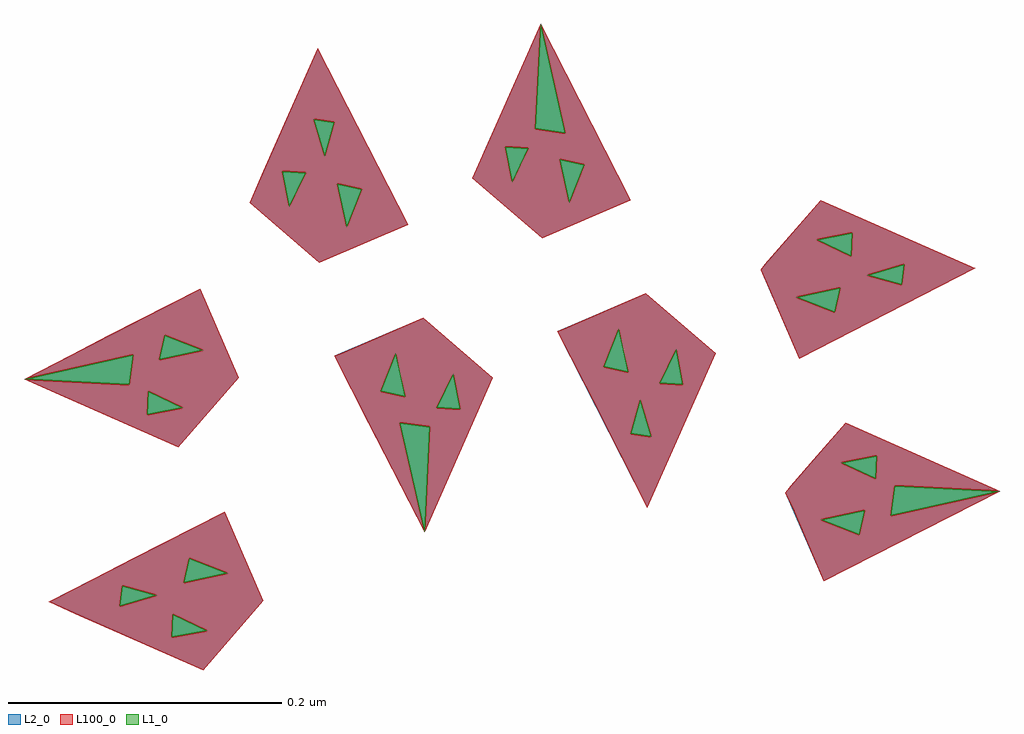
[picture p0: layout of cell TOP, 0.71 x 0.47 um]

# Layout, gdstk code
import gdstk
lib = gdstk.Library(unit=1e-6, precision=1e-09)
def P(c, l, *ps):  # polygons
    for p in ps: c.add(gdstk.Polygon(p, *l))
L1_0 = (1, 0)
L2_0 = (2, 0)
L100_0 = (100, 0)

top = lib.new_cell('TOP')
P(top, L1_0, [(-0.81,1.3),(-0.817,1.332),(-0.799,1.328)],
  [(-0.647,1.318),(-0.654,1.35),(-0.636,1.346)],
  [(-0.929,1.04),(-0.925,1.058),(-0.897,1.047)],
  [(-0.947,1.203),(-0.943,1.221),(-0.915,1.21)],
  [(-0.767,1.176),(-0.785,1.18),(-0.774,1.208)],
  [(-0.604,1.194),(-0.622,1.198),(-0.611,1.226)],
  [(-0.852,1.315),(-0.857,1.341),(-0.84,1.34)],
  [(-0.689,1.333),(-0.694,1.359),(-0.677,1.358)],
  [(-0.423,1.116),(-0.448,1.128),(-0.422,1.133)],
  [(-0.441,1.279),(-0.466,1.291),(-0.44,1.296)],
  [(-0.753,1.077),(-0.771,1.157),(-0.749,1.154)],
  [(-0.969,1.185),(-1.046,1.189),(-0.966,1.207)],
  [(-0.435,1.075),(-0.463,1.086),(-0.431,1.093)],
  [(-0.453,1.238),(-0.481,1.249),(-0.449,1.256)],
  [(-0.412,1.089),(-0.409,1.111),(-0.332,1.107)],
  [(-0.826,1.352),(-0.834,1.379),(-0.819,1.377)],
  [(-0.587,1.147),(-0.602,1.149),(-0.595,1.174)],
  [(-0.727,1.167),(-0.744,1.168),(-0.732,1.193)],
  [(-0.564,1.185),(-0.581,1.186),(-0.569,1.211)],
  [(-0.65,1.369),(-0.672,1.372),(-0.668,1.449)],
  [(-0.938,1),(-0.937,1.017),(-0.912,1.005)],
  [(-0.956,1.163),(-0.955,1.18),(-0.93,1.168)],
  [(-0.404,1.258),(-0.429,1.265),(-0.402,1.273)],
  [(-0.976,1.023),(-0.974,1.038),(-0.949,1.031)])
P(top, L2_0, [(-0.83,1.274),(-0.881,1.318),(-0.831,1.431),(-0.765,1.302)],
  [(-0.667,1.292),(-0.718,1.336),(-0.668,1.449),(-0.602,1.32)],
  [(-0.753,1.077),(-0.819,1.206),(-0.754,1.234),(-0.703,1.19)],
  [(-0.59,1.095),(-0.656,1.224),(-0.591,1.252),(-0.54,1.208)],
  [(-0.461,1.041),(-0.489,1.106),(-0.445,1.157),(-0.332,1.107)],
  [(-0.479,1.204),(-0.507,1.269),(-0.463,1.32),(-0.35,1.27)],
  [(-0.915,0.976),(-1.028,1.026),(-0.899,1.092),(-0.871,1.027)],
  [(-0.933,1.139),(-1.046,1.189),(-0.917,1.255),(-0.889,1.19)])
P(top, L100_0, [(-0.479,1.204),(-0.501,1.256),(-0.449,1.256),(-0.481,1.249),(-0.453,1.238),(-0.449,1.256),(-0.501,1.256),(-0.507,1.269),(-0.504,1.273),(-0.402,1.273),(-0.429,1.265),(-0.404,1.258),(-0.402,1.273),(-0.504,1.273),(-0.484,1.296),(-0.44,1.296),(-0.466,1.291),(-0.441,1.279),(-0.44,1.296),(-0.484,1.296),(-0.463,1.32),(-0.35,1.27)],
  [(-0.915,0.976),(-1.008,1.017),(-0.937,1.017),(-0.938,1),(-0.912,1.005),(-0.937,1.017),(-1.008,1.017),(-1.028,1.026),(-1.005,1.038),(-0.974,1.038),(-0.976,1.023),(-0.949,1.031),(-0.974,1.038),(-1.005,1.038),(-0.966,1.058),(-0.925,1.058),(-0.929,1.04),(-0.897,1.047),(-0.925,1.058),(-0.966,1.058),(-0.899,1.092),(-0.871,1.027)],
  [(-0.753,1.077),(-0.794,1.157),(-0.771,1.157),(-0.753,1.077),(-0.749,1.154),(-0.771,1.157),(-0.794,1.157),(-0.819,1.206),(-0.814,1.208),(-0.774,1.208),(-0.785,1.18),(-0.767,1.176),(-0.771,1.193),(-0.732,1.193),(-0.744,1.168),(-0.727,1.167),(-0.732,1.193),(-0.771,1.193),(-0.774,1.208),(-0.814,1.208),(-0.754,1.234),(-0.703,1.19)],
  [(-0.667,1.292),(-0.718,1.336),(-0.708,1.359),(-0.694,1.359),(-0.689,1.333),(-0.681,1.35),(-0.654,1.35),(-0.647,1.318),(-0.636,1.346),(-0.654,1.35),(-0.681,1.35),(-0.677,1.358),(-0.694,1.359),(-0.708,1.359),(-0.668,1.449),(-0.672,1.372),(-0.65,1.369),(-0.668,1.449),(-0.602,1.32)],
  [(-0.461,1.041),(-0.483,1.093),(-0.431,1.093),(-0.463,1.086),(-0.435,1.075),(-0.431,1.093),(-0.483,1.093),(-0.489,1.106),(-0.485,1.111),(-0.409,1.111),(-0.412,1.089),(-0.332,1.107),(-0.409,1.111),(-0.485,1.111),(-0.466,1.133),(-0.422,1.133),(-0.448,1.128),(-0.423,1.116),(-0.422,1.133),(-0.466,1.133),(-0.445,1.157),(-0.332,1.107)],
  [(-0.59,1.095),(-0.63,1.174),(-0.595,1.174),(-0.602,1.149),(-0.587,1.147),(-0.595,1.174),(-0.63,1.174),(-0.656,1.224),(-0.651,1.226),(-0.611,1.226),(-0.622,1.198),(-0.604,1.194),(-0.608,1.211),(-0.569,1.211),(-0.581,1.186),(-0.564,1.185),(-0.569,1.211),(-0.608,1.211),(-0.611,1.226),(-0.651,1.226),(-0.591,1.252),(-0.54,1.208)],
  [(-0.933,1.139),(-1.026,1.18),(-0.955,1.18),(-0.956,1.163),(-0.93,1.168),(-0.955,1.18),(-1.026,1.18),(-1.046,1.189),(-1.011,1.207),(-0.966,1.207),(-1.046,1.189),(-0.969,1.185),(-0.966,1.207),(-1.011,1.207),(-0.984,1.221),(-0.943,1.221),(-0.947,1.203),(-0.915,1.21),(-0.943,1.221),(-0.984,1.221),(-0.917,1.255),(-0.889,1.19)],
  [(-0.83,1.274),(-0.881,1.318),(-0.871,1.341),(-0.857,1.341),(-0.852,1.315),(-0.844,1.332),(-0.817,1.332),(-0.81,1.3),(-0.799,1.328),(-0.817,1.332),(-0.844,1.332),(-0.84,1.34),(-0.857,1.341),(-0.871,1.341),(-0.854,1.379),(-0.834,1.379),(-0.826,1.352),(-0.819,1.377),(-0.834,1.379),(-0.854,1.379),(-0.831,1.431),(-0.765,1.302)])

lib.write_gds('TOP.gds')
